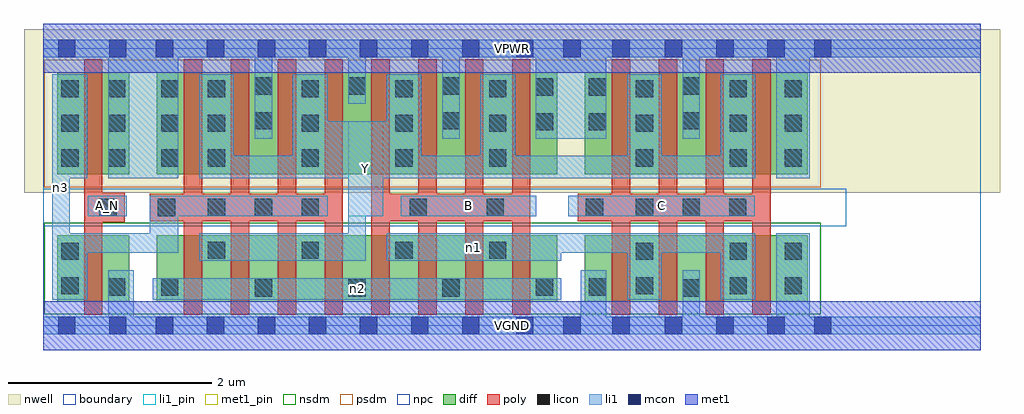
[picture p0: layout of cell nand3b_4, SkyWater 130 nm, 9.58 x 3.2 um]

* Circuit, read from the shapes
.subckt nand3b_4 A_N B C VGND VPWR Y n1 n2 n3
XM1 VGND A_N n3 VSUBS sky130_fd_pr__nfet_01v8 w=0.65 l=0.18
XM2 Y n3 n2 VSUBS sky130_fd_pr__nfet_01v8 w=0.65 l=0.18 m=4
XM3 n1 B n2 VSUBS sky130_fd_pr__nfet_01v8 w=0.65 l=0.18 m=4
XM4 n1 C VGND VSUBS sky130_fd_pr__nfet_01v8 w=0.65 l=0.18 m=4
XM5 VPWR A_N n3 n4 sky130_fd_pr__pfet_01v8 w=1 l=0.18
XM6 Y n3 VPWR n4 sky130_fd_pr__pfet_01v8 w=1 l=0.18 m=4
XM7 Y B VPWR n4 sky130_fd_pr__pfet_01v8 w=1 l=0.18 m=4
XM8 Y C VPWR n4 sky130_fd_pr__pfet_01v8 w=1 l=0.18 m=4
.ends

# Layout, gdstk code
import gdstk
lib = gdstk.Library(unit=1e-6, precision=1e-09)
def R(c, l, rs):  # rectangles x0, y0, x1, y1
    for r in rs: c.add(gdstk.rectangle(r[:2], r[2:], *l))
def A(c, l, x, y, w, h, nx, ny, dx, dy):  # array of equal rectangles
    R(c, l, [(x+i*dx, y+j*dy, x+i*dx+w, y+j*dy+h) for i in range(nx) for j in range(ny)])
nwell = (64, 20)
diff = (65, 20)
poly = (66, 20)
licon = (66, 44)
li1_pin = (67, 16)
li1 = (67, 20)
mcon = (67, 44)
met1_pin = (68, 16)
met1 = (68, 20)
nsdm = (93, 44)
psdm = (94, 20)
npc = (95, 20)
boundary = (235, 4)

nand3b_4 = lib.new_cell('nand3b_4')
R(nand3b_4, nwell, [(-0.19,1.305,9.39,2.91), (0,1.305,9.2,2.91)])
R(nand3b_4, diff, [(0.135,0.235,0.845,0.885), (1.115,0.235,5.045,0.885), (5.315,0.235,7.505,0.885), (0.135,1.485,0.845,2.485), (1.115,1.485,5.045,2.485), (5.315,1.485,7.505,2.485)])
A(nand3b_4, poly, 1.38, 0.105, 0.18, 2.51, 8, 1, 0.46, 0)
A(nand3b_4, poly, 5.58, 0.105, 0.18, 2.51, 4, 1, 0.46, 0)
R(nand3b_4, poly, [(0.4,0.105,0.58,2.615), (0.4,1.015,0.8,1.305), (1.045,1.025,2.94,1.295), (3.22,1.025,4.78,1.295), (5.245,1.025,7.14,1.295)])
A(nand3b_4, licon, 2.075, 0.285, 0.17, 0.17, 3, 2, 0.92, 1.98)
A(nand3b_4, licon, 1.615, 0.655, 0.17, 0.17, 4, 2, 0.92, 0.905)
A(nand3b_4, licon, 1.615, 1.075, 0.17, 0.17, 3, 1, 0.46, 0)
A(nand3b_4, licon, 0.175, 1.56, 0.17, 0.17, 1, 3, 0, 0.34)
A(nand3b_4, licon, 0.635, 1.56, 0.17, 0.17, 1, 3, 0, 0.34)
A(nand3b_4, licon, 1.155, 1.56, 0.17, 0.17, 1, 3, 0, 0.34)
A(nand3b_4, licon, 5.815, 1.56, 0.17, 0.17, 1, 3, 0, 0.34)
A(nand3b_4, licon, 6.735, 1.56, 0.17, 0.17, 1, 3, 0, 0.34)
A(nand3b_4, licon, 7.275, 1.56, 0.17, 0.17, 1, 3, 0, 0.34)
A(nand3b_4, licon, 1.615, 1.9, 0.17, 0.17, 4, 2, 0.92, 0.34)
R(nand3b_4, licon, [(6.275,0.285,6.445,0.455), (0.635,0.295,0.805,0.465), (1.155,0.295,1.325,0.465), (4.835,0.295,5.005,0.465), (5.355,0.295,5.525,0.465), (0.175,0.305,0.345,0.475), (5.815,0.305,5.985,0.475), (6.735,0.305,6.905,0.475), (7.275,0.305,7.445,0.475), (0.175,0.645,0.345,0.815), (5.815,0.645,5.985,0.815), (6.735,0.645,6.905,0.815), (7.275,0.645,7.445,0.815), (0.55,1.075,0.72,1.245), (1.125,1.075,1.295,1.245), (3.595,1.075,3.765,1.245), (4.35,1.075,4.52,1.245), (5.325,1.075,5.495,1.245), (5.815,1.075,5.985,1.245), (6.275,1.075,6.445,1.245), (6.73,1.075,6.9,1.245), (4.835,1.915,5.005,2.085), (5.355,1.915,5.525,2.085), (2.075,1.925,2.245,2.095), (3.915,1.925,4.085,2.095), (6.275,1.925,6.445,2.095), (4.835,2.255,5.005,2.425), (5.355,2.255,5.525,2.425), (6.275,2.265,6.445,2.435)])
R(nand3b_4, li1_pin, [(0.435,1.075,0.82,1.275), (2.995,1.075,3.335,2.005), (3.51,1.075,4.84,1.275), (5.15,1.075,6.985,1.275)])
A(nand3b_4, li1, 1.53, 1.445, 0.34, 1.02, 4, 1, 0.92, 0)
R(nand3b_4, li1, [(0,-0.085,9.2,0.085), (0.635,-0.085,0.885,0.545), (5.275,-0.085,5.525,0.545), (6.275,-0.085,6.445,0.545), (7.195,-0.085,7.525,0.905), (0.085,0.255,0.26,2.465), (0.085,0.255,0.43,0.905), (1.075,0.255,5.085,0.465), (5.73,0.255,6.07,0.905), (6.65,0.255,6.99,0.905), (1.53,0.635,3.165,0.905), (2.995,0.635,3.165,2.005), (3.37,0.635,5.085,0.905), (0.085,0.715,1.325,0.905), (1.045,0.715,1.325,1.275), (3.37,0.715,6.99,0.905), (0.435,1.075,0.82,1.275), (1.045,1.075,2.79,1.275), (2.995,1.075,3.335,2.005), (3.51,1.075,4.84,1.275), (5.15,1.075,6.985,1.275), (0.085,1.445,0.43,2.465), (0.635,1.445,1.325,2.805), (1.53,1.445,6.99,1.665), (2.45,1.445,3.71,2.005), (5.73,1.445,6.07,2.465), (6.65,1.445,6.99,2.465), (7.195,1.445,7.525,2.805), (2.075,1.835,2.245,2.805), (3.915,1.835,4.085,2.805), (4.835,1.835,5.525,2.805), (6.275,1.835,6.445,2.805), (2.995,2.175,3.165,2.805), (0,2.635,9.2,2.805)])
A(nand3b_4, mcon, 1.105, -0.085, 0.17, 0.17, 5, 2, 0.5, 2.72)
R(nand3b_4, mcon, [(0.145,-0.085,0.315,0.085), (0.645,-0.085,0.815,0.085), (3.61,-0.085,3.78,0.085), (4.11,-0.085,4.28,0.085), (4.64,-0.085,4.81,0.085), (5.105,-0.085,5.275,0.085), (5.585,-0.085,5.755,0.085), (6.1,-0.085,6.27,0.085), (6.605,-0.085,6.775,0.085), (7.105,-0.085,7.275,0.085), (7.565,-0.085,7.735,0.085), (0.145,2.635,0.315,2.805), (0.645,2.635,0.815,2.805), (3.61,2.635,3.78,2.805), (4.11,2.635,4.28,2.805), (4.64,2.635,4.81,2.805), (5.105,2.635,5.275,2.805), (5.585,2.635,5.755,2.805), (6.1,2.635,6.27,2.805), (6.605,2.635,6.775,2.805), (7.105,2.635,7.275,2.805), (7.565,2.635,7.735,2.805)])
R(nand3b_4, met1_pin, [(0,-0.24,9.2,0.24), (0,2.48,9.2,2.96)])
R(nand3b_4, met1, [(0,-0.24,9.2,0.24), (0,2.48,9.2,2.96)])
R(nand3b_4, nsdm, [(0.01,0.11,7.63,1.01)])
R(nand3b_4, psdm, [(0.01,1.36,7.63,2.61)])
R(nand3b_4, npc, [(0,0.975,7.88,1.345)])
R(nand3b_4, boundary, [(0,0,9.2,2.72)])
nand3b_4.add(gdstk.Label('A_N', (0.627,1.175), layer=67, texttype=5))
nand3b_4.add(gdstk.Label('B', (4.175,1.175), layer=67, texttype=5))
nand3b_4.add(gdstk.Label('C', (6.067,1.175), layer=67, texttype=5))
nand3b_4.add(gdstk.Label('Y', (3.165,1.54), layer=67, texttype=5))
nand3b_4.add(gdstk.Label('n2', (3.08,0.36), layer=67, texttype=5))
nand3b_4.add(gdstk.Label('n1', (4.227,0.77), layer=67, texttype=5))
nand3b_4.add(gdstk.Label('n3', (0.172,1.36), layer=67, texttype=5))
nand3b_4.add(gdstk.Label('VPWR', (4.6,2.72), layer=68, texttype=5))
nand3b_4.add(gdstk.Label('VGND', (4.6,0), layer=68, texttype=5))
nand3b_4.add(gdstk.Label('A_N', (0.627,1.175), layer=67, texttype=16))
nand3b_4.add(gdstk.Label('B', (4.175,1.175), layer=67, texttype=16))
nand3b_4.add(gdstk.Label('C', (6.067,1.175), layer=67, texttype=16))
nand3b_4.add(gdstk.Label('Y', (3.165,1.54), layer=67, texttype=16))
nand3b_4.add(gdstk.Label('VPWR', (4.6,2.72), layer=68, texttype=16))
nand3b_4.add(gdstk.Label('VGND', (4.6,0), layer=68, texttype=16))

lib.write_gds('nand3b_4.gds')
